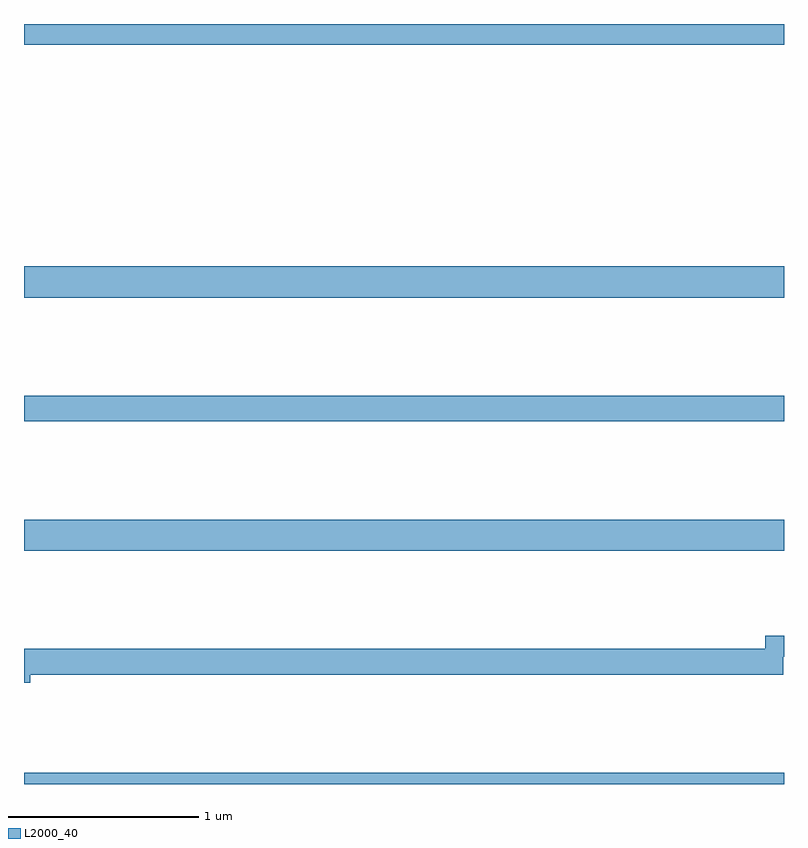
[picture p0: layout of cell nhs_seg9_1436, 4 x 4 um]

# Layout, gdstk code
import gdstk
lib = gdstk.Library(unit=1e-6, precision=1e-09)
def R(c, l, rs):  # rectangles x0, y0, x1, y1
    for r in rs: c.add(gdstk.rectangle(r[:2], r[2:], *l))
def P(c, l, *ps):  # polygons
    for p in ps: c.add(gdstk.Polygon(p, *l))
L2000_40 = (2000, 40)

nhs_seg9_1436 = lib.new_cell('nhs_seg9_1436')
R(nhs_seg9_1436, L2000_40, [(191,1220.5,195,1220.56), (191,1221.728,195,1221.892), (191,1222.408,195,1222.544), (191,1223.06,195,1223.224), (191,1224.392,195,1224.5)])
P(nhs_seg9_1436, L2000_40, [(191.032,1221.076),(194.997,1221.076),(194.997,1221.17),(195,1221.17),(195,1221.28),(194.901,1221.28),(194.901,1221.212),(191,1221.212),(191,1221.034),(191.032,1221.034)])

lib.write_gds('nhs_seg9_1436.gds')
